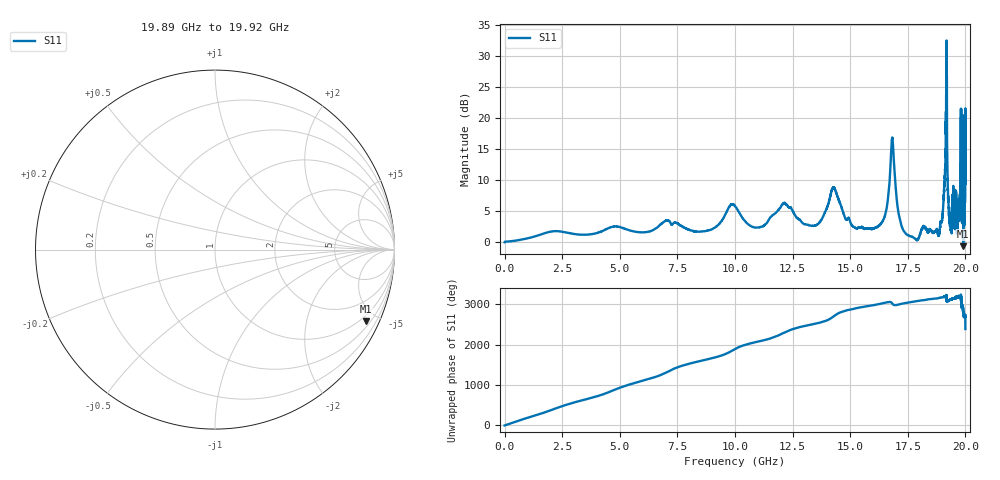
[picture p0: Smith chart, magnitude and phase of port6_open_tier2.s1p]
! Created with skrf 1.8.0 (http://scikit-rf.org).
# GHz S RI R 50.0
!freq ReS11 ImS11
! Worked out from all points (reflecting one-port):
!   10001 points, 1 MHz to 20 GHz, reference 50 ohm
!   lowest |S11| = -0.6 dB at 19.91 GHz (marker M1), VSWR 28.88, Z = 35 - j217 ohm
!   phase of S11 starts at 1 deg and turns +2381 deg over the sweep
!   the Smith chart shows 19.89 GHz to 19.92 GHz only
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0.001  1.004 0.00877
2.500875  -0.5725 1.076
4.034798  1.188 0.1124
5.00075  -1.129 -0.7014
5.854707  1.207 0.0432
6.878656  -1.412 -0.3168
7.500625  1.425 -0.0903
8.630569  -1.214 0.1939
9.41053  0.4494 -1.411
10.0005  0.0328 1.963
10.83046  -0.4533 -1.243
11.64642  1.64 0.2923
12.0344  -0.5379 1.935
12.50038  -1.407 -1.122
13.67632  1.374 0.4654
14.0963  -0.5534 2.12
14.30029  -2.725 -0.1289
14.51427  -0.4337 -2.126
15.00025  1.373 -0.516
16.66417  -2.418 0.5085
16.89216  -0.6245 4.58
17.50013  -1.052 0.4493
18.93005  0.257 -1.453
19.10404  1.482 -2.897
19.28804  -1.449 -0.729
19.68402  0.6302 -1.426
19.906  0.843 -0.4
20  -3.959 -3.443
